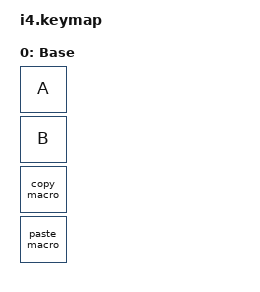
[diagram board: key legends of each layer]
#include <behaviors.dtsi>
#include <dt-bindings/zmk/keys.h>

/ {
    macros {
        copy_macro: copy_macro {
            compatible = "zmk,behavior-macro";
            #binding-cells = <0>;
            bindings = <
                &macro_press &kp LCTRL
                &macro_tap   &kp C
                &macro_release &kp LCTRL
            >;
        };

        paste_macro: paste_macro {
            compatible = "zmk,behavior-macro";
            #binding-cells = <0>;
            bindings = <
                &macro_press &kp LCTRL
                &macro_tap   &kp V
                &macro_release &kp LCTRL
            >;
        };
    };

    keymap {
        compatible = "zmk,keymap";

        default_layer {
            display-name = "Base";

            bindings = <
                &kp A
                &kp B
                &copy_macro
                &paste_macro
            >;
        };
    };
};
